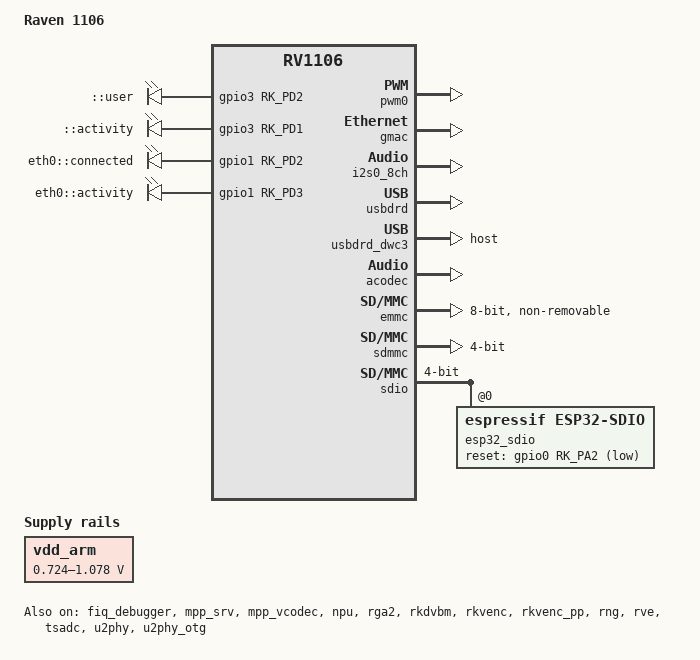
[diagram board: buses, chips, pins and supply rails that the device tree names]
/dts-v1/;

#include <dt-bindings/input/input.h>
#include <dt-bindings/gpio/gpio.h>
#include <dt-bindings/leds/common.h>

#include "rv1106.dtsi"

/ {
	model = "Raven 1106";
	compatible = "rockchip,rv1106g-evb1-v11", "rockchip,rv1106";

	rockchip_amp: rockchip-amp {
		compatible = "rockchip,amp";
		clocks = <&cru CLK_TIMER_ROOT>, <&cru PCLK_TIMER>, <&cru CLK_TIMER5>,
			<&cru CLK_CORE_MCU>, <&cru CLK_CORE_MCU_RTC>, <&cru PCLK_MAILBOX>;

		status = "okay";
	};

	restart-poweroff {
		compatible = "restart-poweroff";
	};

	acodec_sound: acodec-sound {
		compatible = "simple-audio-card";
		simple-audio-card,name = "rv1106-acodec";
		simple-audio-card,format = "i2s";
		simple-audio-card,mclk-fs = <256>;
		simple-audio-card,cpu {
			sound-dai = <&i2s0_8ch>;
		};
		simple-audio-card,codec {
			sound-dai = <&acodec>;
		};
	};

	dsm_sound: dsm-sound {
		status = "disabled";
		compatible = "simple-audio-card";
		simple-audio-card,format = "i2s";
		simple-audio-card,mclk-fs = <256>;
		simple-audio-card,name = "rockchip,dsm-sound";
		simple-audio-card,bitclock-master = <&sndcodec>;
		simple-audio-card,frame-master = <&sndcodec>;
		sndcpu: simple-audio-card,cpu {
			sound-dai = <&i2s0_8ch>;
		};
		sndcodec: simple-audio-card,codec {
			sound-dai = <&dsm>;
		};
	};

    leds {
        compatible = "gpio-leds";

        led-status {
            label = "::user";
            gpios = <&gpio3 RK_PD2 GPIO_ACTIVE_HIGH>;
            linux,default-trigger = "none";
        };

        led-activity {
            label = "::activity";
            gpios = <&gpio3 RK_PD1 GPIO_ACTIVE_HIGH>;
            linux,default-trigger = "activity";
        };

        led-eth-connected {
            label = "eth0::connected";
            gpios = <&gpio1 RK_PD2 GPIO_ACTIVE_HIGH>;
            linux,default-trigger = "netdev";
            netdev {
                device-name = "eth0";
                link;
            };
        };

        led-eth-activity {
            label = "eth0::activity";
            gpios = <&gpio1 RK_PD3 GPIO_ACTIVE_HIGH>;
            linux,default-trigger = "netdev";
            netdev {
                device-name = "eth0";
                rx;
                tx;
            };
        };
    };

	vdd_arm: vdd-arm {
		compatible = "pwm-regulator"; 
		pwms = <&pwm0 0 5000 1>;
		regulator-name = "vdd_arm";
		regulator-min-microvolt = <724000>;
		regulator-max-microvolt = <1078000>;
		regulator-init-microvolt = <950000>;
		regulator-always-on;
		regulator-boot-on;
		regulator-settling-time-up-us = <250>;
	};
};

&cpu0 {
	cpu-supply = <&vdd_arm>;
};

&pwm0 {
	status = "okay";
};

&fiq_debugger {
	rockchip,irq-mode-enable = <1>;
	status = "okay";
};

&gmac {
	status = "okay";
};

&i2s0_8ch {
	#sound-dai-cells = <0>;
	status = "okay";
};

&mpp_srv {
	status = "okay";
};

&mpp_vcodec {
	status = "okay";
};

&npu {
	status = "okay";
};

&rga2 {
	status = "okay";
};

&rkdvbm {
	status = "okay";
};

&rkvenc {
	status = "okay";
};

&rkvenc_pp {
	status = "okay";
};

&rmii_phy {
	bgs,increment = <0>;
};

&rng {
	status = "okay";
};

&rve {
	status = "okay";
};

&tsadc {
	status = "okay";
};

&u2phy {
	status = "okay";
};

&u2phy_otg {
	status = "okay";
};

&usbdrd {
	status = "okay";
};

&usbdrd_dwc3 {
	extcon = <&u2phy>;
	dr_mode = "host";
	maximum-speed = "high-speed";
	status = "okay";
};

&acodec {
	#sound-dai-cells = <0>;
	pa-ctl-gpios = <&gpio1 RK_PA1 GPIO_ACTIVE_HIGH>;
	status = "okay";
};

&emmc {
	bus-width = <8>;
	cap-mmc-highspeed;
	non-removable;
	mmc-ddr-1_8v;
	mmc-hs200-1_8v;
	rockchip,default-sample-phase = <90>;
	no-sdio;
	no-sd;
	status = "okay";
};

&dsm {
	status = "disabled";
};
 
&sdmmc {
	max-frequency = <200000000>;
	no-sdio;
	no-mmc;
	bus-width = <4>;
	cap-mmc-highspeed;
	cap-sd-highspeed;
	disable-wp;
	pinctrl-names = "normal", "idle";
	pinctrl-0 = <&sdmmc0_clk &sdmmc0_cmd &sdmmc0_det &sdmmc0_bus4>;
	pinctrl-1 = <&sdmmc0_idle_pins &sdmmc0_det>;
	sd-uhs-sdr12;
	sd-uhs-sdr25;
	sd-uhs-sdr50;
	sd-uhs-sdr104;
	status = "okay";
};

/* WiFi communication over SDIO */
&sdio {
	status = "okay";
	pinctrl-names = "default";
	pinctrl-0 = <&sdmmc1m1_cmd &sdmmc1m1_clk &sdmmc1m1_bus4>;
	max-frequency = <50000000>;
	bus-width = <4>;
	broken-cd;

	esp32_sdio: esp32_sdio@0 {
		compatible = "espressif,esp32-sdio";
		reset-gpios = <&gpio0 RK_PA2 GPIO_ACTIVE_LOW>;
	};
};

/* WiFi communication over SPI */
/*
&spi0 {
	status = "okay";

	esp32_spi: esp32_spi@0 {
		compatible = "espressif,esp32-spi";
		reg = <0>;
		spi-max-frequency = <1000000>;
		spi-cpol;
		reset-gpios = <&gpio0 RK_PA2 GPIO_ACTIVE_LOW>;
		handshake-gpios = <&gpio1 RK_PC5 GPIO_ACTIVE_HIGH>;
		data-ready-gpios = <&gpio1 RK_PC4 GPIO_ACTIVE_HIGH>;
	};
};
*/

/*
&gpio0 {
    esp32c6_reset {
        gpio-hog;
        gpios = <2 GPIO_ACTIVE_LOW>;
        output-low;
        line-name = "esp32c6-reset";
    };
};
*/ 
